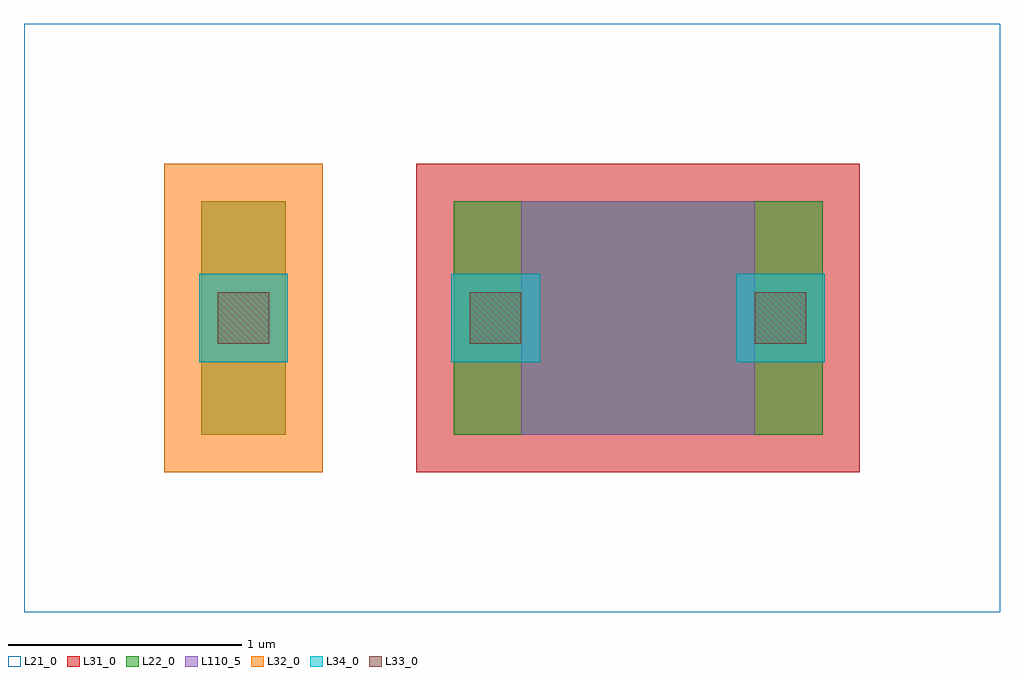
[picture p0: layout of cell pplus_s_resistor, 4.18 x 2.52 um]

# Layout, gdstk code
import gdstk
lib = gdstk.Library(unit=1e-6, precision=1e-09)
def R(c, l, rs):  # rectangles x0, y0, x1, y1
    for r in rs: c.add(gdstk.rectangle(r[:2], r[2:], *l))
L21_0 = (21, 0)
L22_0 = (22, 0)
L31_0 = (31, 0)
L32_0 = (32, 0)
L33_0 = (33, 0)
L34_0 = (34, 0)
L110_5 = (110, 5)

pplus_s_resistor = lib.new_cell('pplus_s_resistor')
R(pplus_s_resistor, L21_0, [(-2.13,-0.76,2.05,1.76)])
R(pplus_s_resistor, L22_0, [(-1.37,0,-1.01,1), (-0.29,0,1.29,1)])
R(pplus_s_resistor, L31_0, [(-0.45,-0.16,1.45,1.16)])
R(pplus_s_resistor, L32_0, [(-1.53,-0.16,-0.85,1.16)])
R(pplus_s_resistor, L33_0, [(-1.3,0.39,-1.08,0.61), (-0.22,0.39,0,0.61), (1,0.39,1.22,0.61)])
R(pplus_s_resistor, L34_0, [(-1.38,0.31,-1,0.69), (-0.3,0.31,0.08,0.69), (0.92,0.31,1.3,0.69)])
R(pplus_s_resistor, L110_5, [(0,0,1,1)])

lib.write_gds('pplus_s_resistor.gds')
